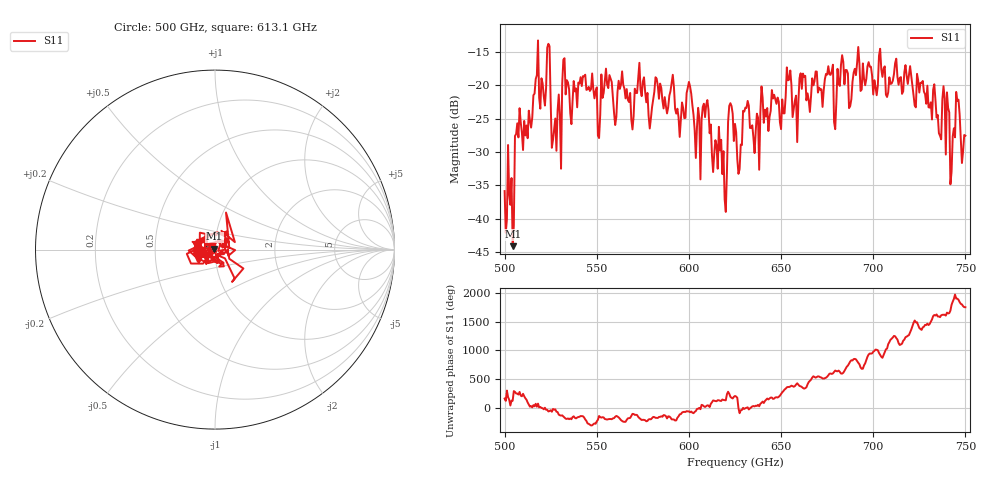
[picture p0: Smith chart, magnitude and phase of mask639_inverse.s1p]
!Created with skrf (http://scikit-rf.org).
# GHz S MA R 50.0
!freq magS11 angS11
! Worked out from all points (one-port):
!   401 points, 500 GHz to 750 GHz, reference 50 ohm
!   lowest |S11| = -44.1 dB at 504.4 GHz (marker M1), VSWR 1.01, Z = 49.6 + j0.511 ohm
!   |S11| at or under -10 dB: start of sweep to end of sweep
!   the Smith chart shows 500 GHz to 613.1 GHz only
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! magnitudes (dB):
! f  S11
! 500 GHz  -35.8
! 504.4 GHz  -44.1
! 506.9 GHz  -25.7
! 513.8 GHz  -25.3
! 516.9 GHz  -19.1
! 523.8 GHz  -13.8
! 526.9 GHz  -26.6
! 531.2 GHz  -19.8
! 562.5 GHz  -20.6
! 590.6 GHz  -19.7
! 593.8 GHz  -23.5
! 600 GHz  -19.5
! 605 GHz  -23.4
! 609.4 GHz  -23.0
! 619.4 GHz  -37.0
! 622.5 GHz  -22.7
! 625 GHz  -25.8
! 627.5 GHz  -32.6
! 630.6 GHz  -23.4
! 636.9 GHz  -24.3
! 656.2 GHz  -24.8
! 687.5 GHz  -23.1
! 691.2 GHz  -16.7
! 718.8 GHz  -19.8
! 739.4 GHz  -30.4
! 743.1 GHz  -27.7
! 745.6 GHz  -22.4
! 750 GHz  -27.6
